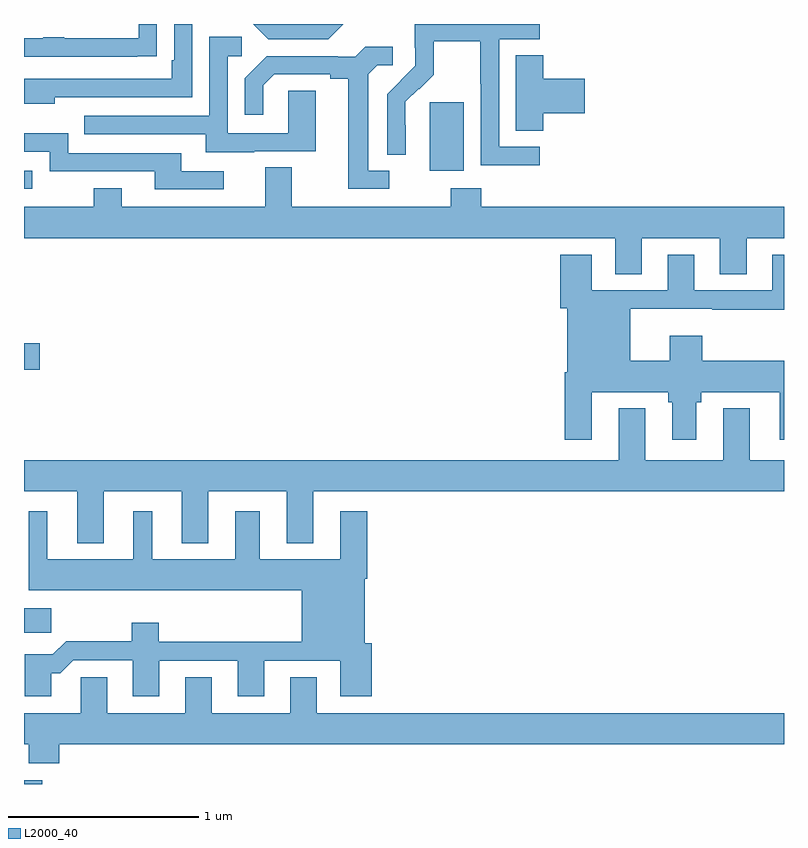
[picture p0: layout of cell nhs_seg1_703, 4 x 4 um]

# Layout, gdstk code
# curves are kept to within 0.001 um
import gdstk
lib = gdstk.Library(unit=1e-6, precision=1e-09)
def R(c, l, rs):  # rectangles x0, y0, x1, y1
    for r in rs: c.add(gdstk.rectangle(r[:2], r[2:], *l))
def P(c, l, *ps):  # polygons
    for p in ps: c.add(gdstk.Polygon(p, *l))
L2000_40 = (2000, 40)

nhs_seg1_703 = lib.new_cell('nhs_seg1_703')
R(nhs_seg1_703, L2000_40, [(149,542.199,149.095,542.218), (149,542.995,149.143,543.124), (149,544.378,149.083,544.52), (149,545.331,149.044,545.427), (151.136,545.426,151.315,545.787)])
P(nhs_seg1_703, L2000_40, [(151.714,545.553),(151.5,545.553),(151.5,546.12),(151.714,546.12),(151.714,546.199),(151.056,546.199),(151.056,546.075),(151.058,546.075),(151.058,545.978),(150.912,545.83),(150.912,545.512),(151.008,545.512),(151.007,545.789),(151.077,545.859),(151.08,545.856),(151.157,545.933),(151.157,546.108),(151.402,546.108),(151.402,545.884),(151.404,545.884),(151.404,545.455),(151.714,545.455)],
  [(150.679,546.199),(150.206,546.199),(150.285,546.12),(150.6,546.12)],
  [(149.162,545.814),(149.886,545.814),(149.886,546.199),(149.79,546.199),(149.79,546.007),(149.777,546.007),(149.777,545.91),(149.001,545.91),(149.001,545.78),(149.162,545.78)],
  [(149.597,546.028),(149.699,546.028),(149.699,546.199),(149.603,546.199),(149.603,546.123),(149.213,546.123),(149.213,546.128),(149.101,546.128),(149.101,546.123),(149,546.123),(149,546.027),(149.597,546.027)],
  [(150.211,545.529),(150.535,545.529),(150.535,545.849),(150.39,545.849),(150.39,545.625),(150.072,545.625),(150.072,546.03),(150.145,546.03),(150.145,546.131),(149.976,546.131),(149.976,545.715),(149.317,545.715),(149.317,545.619),(149.957,545.619),(149.957,545.525),(150.211,545.525)],
  [(150.922,545.427),(150.811,545.427),(150.811,545.935),(150.858,545.982),(150.94,545.982),(150.94,546.079),(150.796,546.079),(150.744,546.027),(150.65,546.027),(150.65,546.03),(150.278,546.03),(150.162,545.914),(150.162,545.721),(150.259,545.721),(150.259,545.877),(150.316,545.934),(150.611,545.934),(150.611,545.912),(150.707,545.912),(150.707,545.331),(150.922,545.331)],
  [(151.733,545.729),(151.951,545.729),(151.951,545.912),(151.733,545.912),(151.733,546.035),(151.589,546.035),(151.589,545.638),(151.733,545.638)],
  [(150.052,545.424),(149.827,545.424),(149.827,545.52),(149.232,545.52),(149.232,545.623),(149,545.623),(149,545.526),(149.136,545.526),(149.136,545.424),(149.687,545.424),(149.687,545.328),(150.052,545.328)],
  [(152.251,545.072),(152.663,545.072),(152.663,544.882),(152.803,544.882),(152.803,545.072),(153,545.072),(153,545.236),(151.406,545.236),(151.406,545.335),(151.246,545.335),(151.246,545.236),(150.409,545.236),(150.409,545.444),(150.269,545.444),(150.269,545.236),(149.515,545.236),(149.515,545.335),(149.368,545.335),(149.368,545.236),(149,545.236),(149,545.072),(152.111,545.072),(152.111,544.882),(152.251,544.882)],
  [(151.987,544.262),(152.392,544.262),(152.392,544.209),(152.411,544.209),(152.411,544.011),(152.539,544.011),(152.539,544.209),(152.565,544.209),(152.565,544.262),(152.978,544.262),(152.978,544.011),(153,544.011),(153,544.426),(152.57,544.426),(152.57,544.558),(152.399,544.558),(152.399,544.426),(152.191,544.426),(152.191,544.7),(152.623,544.7),(152.623,544.696),(153,544.696),(153,544.984),(152.939,544.984),(152.939,544.797),(152.527,544.797),(152.527,544.984),(152.387,544.984),(152.387,544.797),(151.987,544.797),(151.987,544.984),(151.823,544.984),(151.823,544.704),(151.859,544.704),(151.859,544.366),(151.847,544.366),(151.847,544.011),(151.987,544.011)],
  [(152.681,544.177),(152.681,543.904),(152.269,543.904),(152.269,544.177),(152.129,544.177),(152.129,543.904),(149,543.904),(149,543.74),(149.279,543.74),(149.279,543.467),(149.419,543.467),(149.419,543.74),(149.831,543.74),(149.831,543.467),(149.971,543.467),(149.971,543.74),(150.383,543.74),(150.383,543.467),(150.523,543.467),(150.523,543.74),(153,543.74),(153,543.904),(152.821,543.904),(152.821,544.177)],
  [(149.143,542.783),(149.192,542.783),(149.259,542.85),(149.573,542.85),(149.573,542.661),(149.713,542.661),(149.713,542.847),(150.125,542.847),(150.125,542.661),(150.265,542.661),(150.265,542.847),(150.665,542.847),(150.665,542.661),(150.83,542.661),(150.83,542.94),(150.793,542.94),(150.793,543.278),(150.806,543.278),(150.806,543.634),(150.665,543.634),(150.665,543.382),(150.241,543.382),(150.241,543.634),(150.113,543.634),(150.113,543.382),(149.674,543.382),(149.674,543.634),(149.576,543.634),(149.576,543.382),(149.122,543.382),(149.122,543.634),(149.024,543.634),(149.024,543.218),(150.461,543.218),(150.461,542.948),(149.708,542.948),(149.708,543.049),(149.566,543.049),(149.566,542.951),(149.222,542.951),(149.152,542.881),(149.003,542.881),(149.003,542.661),(149.143,542.661)],
  [(149.186,542.408),(153,542.408),(153,542.572),(150.541,542.572),(150.541,542.762),(150.401,542.762),(150.401,542.572),(149.989,542.572),(149.989,542.762),(149.849,542.762),(149.849,542.572),(149.437,542.572),(149.437,542.762),(149.298,542.762),(149.298,542.572),(149,542.572),(149,542.408),(149.026,542.408),(149.026,542.309),(149.186,542.309)])

lib.write_gds('nhs_seg1_703.gds')
